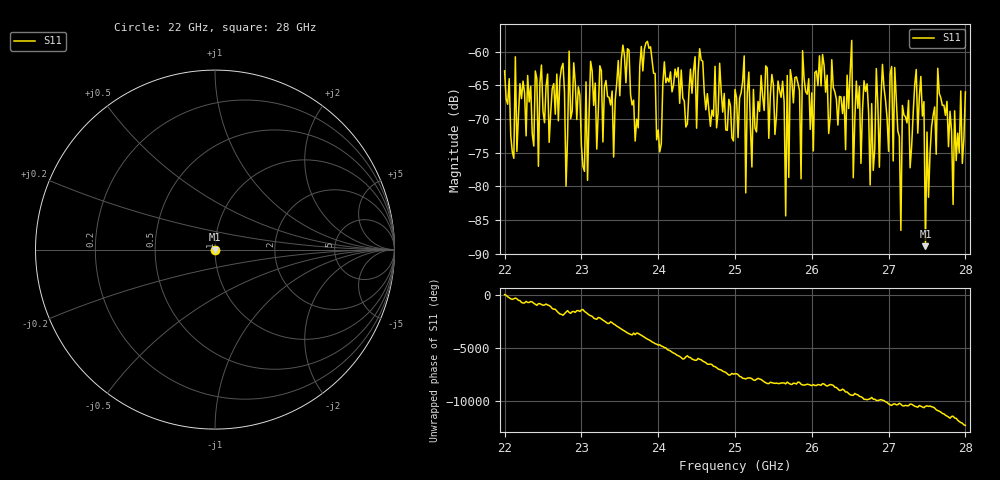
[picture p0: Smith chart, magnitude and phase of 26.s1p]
#  HZ  S  RI  R  50.00
! Rohde & Schwarz ZVA40 4Ports - Version 3.90 - 1145.1110k42 SN: 100403
! Date: 2023-10-04 09:27:47
! Measurement: S12
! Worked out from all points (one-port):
!   301 points, 22 GHz to 28 GHz, reference 50 ohm
!   lowest |S11| = -88.9 dB at 27.48 GHz (marker M1), VSWR 1.00, Z = 50 - j0.00211 ohm
!   |S11| at or under -10 dB: start of sweep to end of sweep
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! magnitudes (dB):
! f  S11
! 22 GHz  -62.9
! 22.44 GHz  -77.0
! 22.76 GHz  -61.7
! 22.8 GHz  -80.0
! 22.84 GHz  -59.9
! 23.08 GHz  -79.1
! 23.12 GHz  -61.4
! 23.5 GHz  -66.5
! 24.26 GHz  -62.4
! 25 GHz  -65.6
! 25.12 GHz  -60.6
! 25.14 GHz  -81.0
! 25.18 GHz  -63.0
! 25.22 GHz  -77.1
! 25.76 GHz  -67.6
! 26.5 GHz  -63.0
! 26.54 GHz  -78.7
! 26.58 GHz  -64.4
! 26.76 GHz  -79.8
! 26.84 GHz  -62.5
! 26.88 GHz  -77.2
! 26.92 GHz  -61.9
! 27.16 GHz  -86.5
! 27.26 GHz  -67.2
! 27.48 GHz  -88.9
! 27.64 GHz  -62.5
! 27.84 GHz  -82.7
! 28 GHz  -66.0
